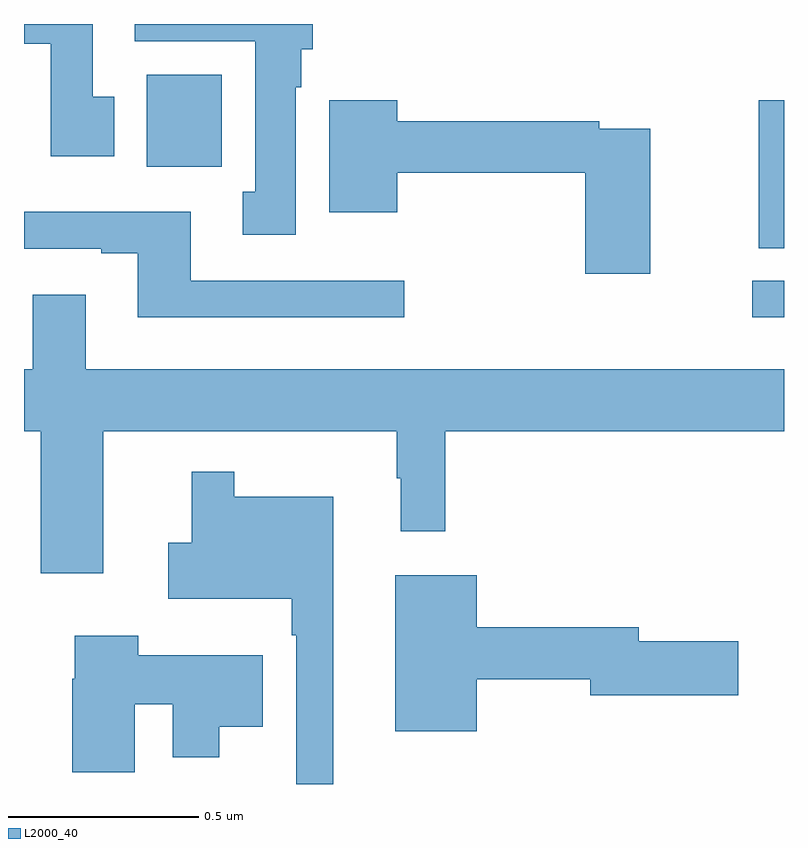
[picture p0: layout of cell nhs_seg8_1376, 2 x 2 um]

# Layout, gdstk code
import gdstk
lib = gdstk.Library(unit=1e-6, precision=1e-09)
def R(c, l, rs):  # rectangles x0, y0, x1, y1
    for r in rs: c.add(gdstk.rectangle(r[:2], r[2:], *l))
def P(c, l, *ps):  # polygons
    for p in ps: c.add(gdstk.Polygon(p, *l))
L2000_40 = (2000, 40)

nhs_seg8_1376 = lib.new_cell('nhs_seg8_1376')
R(nhs_seg8_1376, L2000_40, [(130.917,1122.128,131,1122.225), (130.934,1122.31,131,1122.7), (129.323,1122.524,129.52,1122.766)])
P(nhs_seg8_1376, L2000_40, [(129.715,1122.734),(129.73,1122.734),(129.73,1122.834),(129.76,1122.834),(129.76,1122.9),(129.291,1122.9),(129.291,1122.854),(129.608,1122.854),(129.608,1122.458),(129.575,1122.458),(129.575,1122.345),(129.715,1122.345)],
  [(129.238,1122.708),(129.181,1122.708),(129.181,1122.9),(129,1122.9),(129,1122.848),(129.071,1122.848),(129.071,1122.552),(129.238,1122.552)],
  [(130.648,1122.624),(130.514,1122.624),(130.514,1122.644),(129.982,1122.644),(129.982,1122.7),(129.803,1122.7),(129.803,1122.404),(129.982,1122.404),(129.982,1122.508),(130.477,1122.508),(130.477,1122.243),(130.648,1122.243)],
  [(130,1122.225),(129.439,1122.225),(129.439,1122.406),(129,1122.406),(129,1122.309),(129.203,1122.309),(129.203,1122.297),(129.299,1122.297),(129.299,1122.128),(130,1122.128)],
  [(129.163,1122.187),(129.023,1122.187),(129.023,1121.992),(129,1121.992),(129,1121.828),(129.044,1121.828),(129.044,1121.454),(129.208,1121.454),(129.208,1121.828),(129.981,1121.828),(129.981,1121.705),(129.992,1121.705),(129.992,1121.565),(130.109,1121.565),(130.109,1121.828),(131,1121.828),(131,1121.992),(129.163,1121.992)],
  [(129.814,1121.656),(129.553,1121.656),(129.553,1121.722),(129.442,1121.722),(129.442,1121.535),(129.38,1121.535),(129.38,1121.387),(129.705,1121.387),(129.705,1121.291),(129.717,1121.291),(129.717,1120.9),(129.814,1120.9)],
  [(130.192,1121.176),(130.49,1121.176),(130.49,1121.134),(130.879,1121.134),(130.879,1121.276),(130.618,1121.276),(130.618,1121.312),(130.192,1121.312),(130.192,1121.449),(129.977,1121.449),(129.977,1121.039),(130.192,1121.039)],
  [(129.292,1121.11),(129.392,1121.11),(129.392,1120.97),(129.514,1120.97),(129.514,1121.051),(129.628,1121.051),(129.628,1121.239),(129.3,1121.239),(129.3,1121.29),(129.134,1121.29),(129.134,1121.177),(129.127,1121.177),(129.127,1120.931),(129.292,1120.931)])

lib.write_gds('nhs_seg8_1376.gds')
